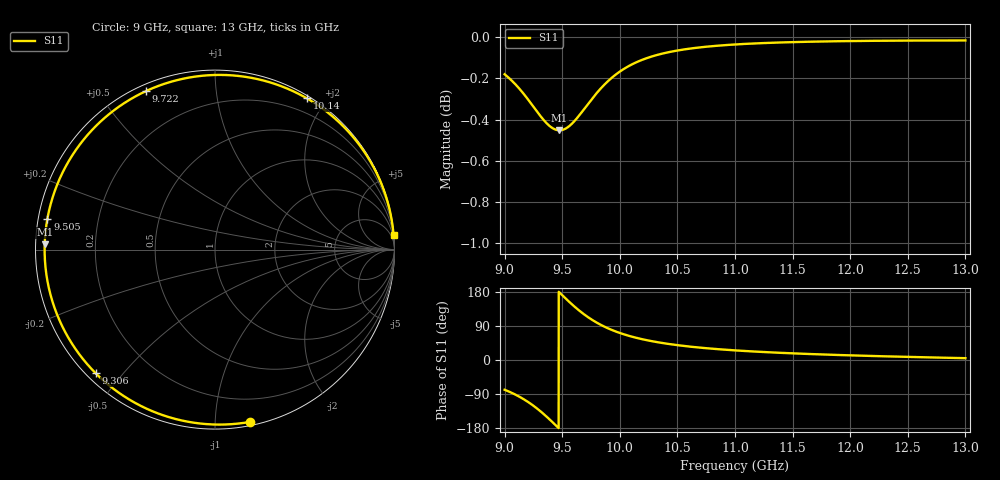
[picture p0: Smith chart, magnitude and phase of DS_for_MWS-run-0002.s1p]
! TOUCHSTONE file generated by CST DESIGN STUDIO
! Date and time: Tue Feb  4 13:48:43 2025
! Project name: C:\Work\MatlabApps\UnitCellOptimizationMatlab\CST\unitcell.cst
! Tree item: Tasks\Sweep1\SPara1\S-Parameters
! Header version: 2024
! Port assignment regex: !\s*Touchstone port\s*([0-9]+)\s*=\s*(CST MWS port|CST DES external port|CST DES block port)\s*(.+)\s* \(\"(.*)\"\)(\s*mode\s*([0-9]+))?.*
! Touchstone port assignment:
! Touchstone port 1 = CST DES external port 1 ("")
# GHz S MA R 50
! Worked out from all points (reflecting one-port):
!   4001 points, 9 GHz to 13 GHz, reference 50 ohm
!   lowest |S11| = -0.5 dB at 9.476 GHz (marker M1), VSWR 38.44, Z = 1.3 + j0.794 ohm
!   phase of S11 starts at -79 deg and turns -277 deg over the sweep
!   S11 on the Smith chart (normalised r, x): 9 GHz: 0.03, -1.22; 9.306 GHz: 0.03, -0.42; 9.505 GHz: 0.03, +0.09; 9.722 GHz: 0.03, +0.66; 10.14 GHz: 0.03, +1.78; 13 GHz: 1, +24
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9  0.9795 -78.5
9.076  0.9752 -88.7
9.174  0.9682 -105.0
9.242  0.9626 -118.9
9.306  0.9573 -134.0
9.351  0.9539 -145.8
9.398  0.9512 -158.9
9.438  0.9498 -170.6
9.476  0.9493 178.2
9.5  0.9495 171.1
9.505  0.9496 169.6
9.557  0.9513 154.5
9.617  0.955 138.2
9.669  0.9589 125.3
9.722  0.9632 113.5
9.777  0.9676 102.7
9.839  0.9721 92.1
9.918  0.9769 80.9
10  0.981 71.3
10.141  0.9861 58.7
10.303  0.9898 48.3
10.5  0.9926 39.2
10.722  0.9946 31.9
11  0.996 25.4
11.5  0.9973 17.5
12  0.9979 12.2
12.5  0.9982 8.2
13  0.9982 4.8
